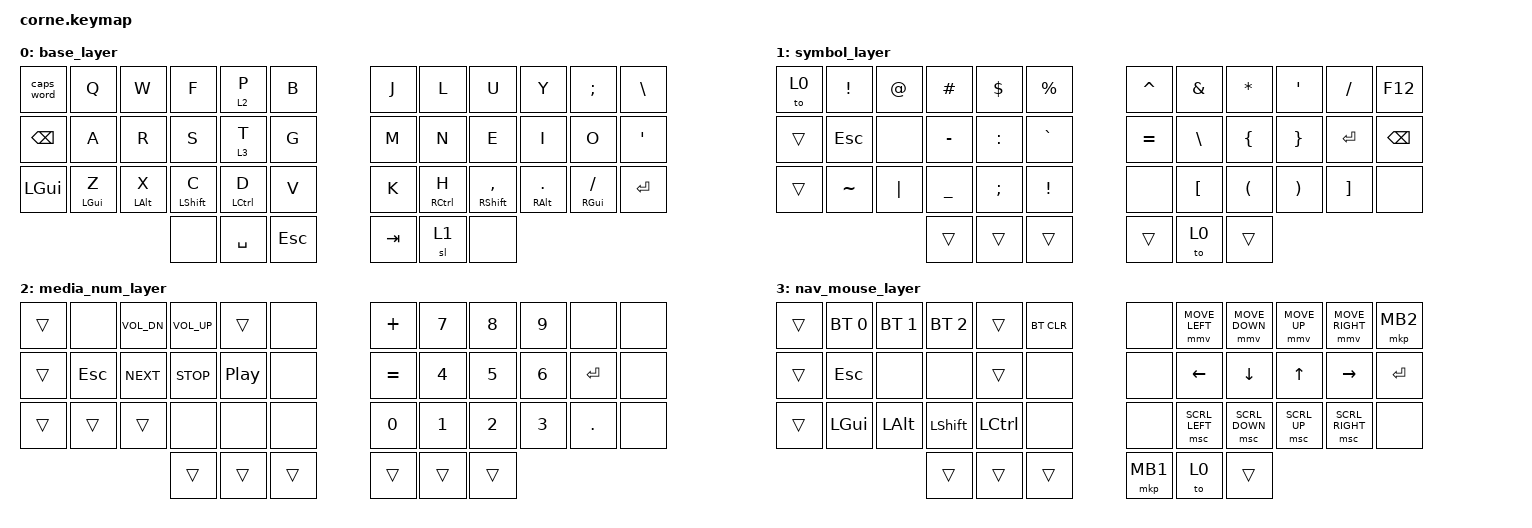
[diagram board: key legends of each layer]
#define ZMK_POINTING_DEFAULT_MOVE_VAL 1500
#define ZMK_POINTING_DEFAULT_SCRL_VAL 15


#include <behaviors.dtsi>
#include <dt-bindings/zmk/keys.h>
#include <dt-bindings/zmk/bt.h>
#include <dt-bindings/zmk/pointing.h>

&mmv {
    trigger-period-ms = <8>;
    time-to-max-speed-ms = <350>;
    acceleration-exponent = <1>;
};

&msc {
    trigger-period-ms = <30>;
    time-to-max-speed-ms = <100>;
    acceleration-exponent = <0>;
};

// Corne 42-key positions:
//  0-11 top row (L 0-5, R 6-11)    12-23 home row (L 12-17, R 18-23)
// 24-35 bottom row (L 24-29, R 30-35)   36-41 thumbs (L 36-38, R 39-41)

/ {
    behaviors {
        // Left-hand mod-tap: only holds if a right-hand key is pressed
        hml: homerow_mod_left {
            compatible = "zmk,behavior-hold-tap";
            #binding-cells = <2>;
            flavor = "balanced";
            tapping-term-ms = <170>;
            require-prior-idle-ms = <80>;
            hold-trigger-key-positions = <6 7 8 9 10 11 18 19 20 21 22 23 30 31 32 33 34 35 39 40 41>;
            hold-trigger-on-release;
            retro-tap;
            bindings = <&kp>, <&kp>;
        };

        // Right-hand mod-tap: only holds if a left-hand key (or Space) is pressed
        hmr: homerow_mod_right {
            compatible = "zmk,behavior-hold-tap";
            #binding-cells = <2>;
            flavor = "balanced";
            tapping-term-ms = <170>;
            require-prior-idle-ms = <80>;
            hold-trigger-key-positions = <0 1 2 3 4 5 12 13 14 15 16 17 24 25 26 27 28 29 36 37 38>;
            hold-trigger-on-release;
            retro-tap;
            bindings = <&kp>, <&kp>;
        };

        // Layer-tap for P (layer 2) and T (layer 3)
        lth: layer_tap_hold {
            compatible = "zmk,behavior-hold-tap";
            #binding-cells = <2>;
            flavor = "balanced";
            tapping-term-ms = <200>;
            bindings = <&mo>, <&kp>;
        };
    };

    keymap {
        compatible = "zmk,keymap";

        base_layer {
            bindings = <
&caps_word  &kp Q          &kp W          &kp F          &lth 2 P       &kp B            &kp J  &kp L          &kp U            &kp Y           &kp SEMI         &kp BSLH
&kp BSPC    &kp A          &kp R          &kp S          &lth 3 T       &kp G            &kp M  &kp N          &kp E            &kp I           &kp O            &kp SQT
&kp LGUI    &hml LGUI Z    &hml LALT X    &hml LSHFT C   &hml LCTRL D   &kp V            &kp K  &hmr RCTRL H    &hmr RSHFT COMMA &hmr RALT DOT   &hmr RGUI FSLH   &kp RET
                                          &none          &kp SPACE      &kp ESC          &kp TAB  &sl 1        &none
            >;
        };

        symbol_layer {
            bindings = <
&to 0       &kp EXCL       &kp AT         &kp HASH       &kp DLLR       &kp PRCNT        &kp CARET  &kp AMPS    &kp STAR         &kp SQT         &kp FSLH         &kp F12
&trans      &kp ESC        &none          &kp MINUS      &kp COLON      &kp GRAVE        &kp EQUAL  &kp BSLH    &kp LBRC         &kp RBRC        &kp RET          &kp BSPC
&trans      &kp TILDE      &kp PIPE       &kp UNDER      &kp SEMI       &kp EXCL         &none      &kp LBKT    &kp LPAR         &kp RPAR        &kp RBKT         &none
                                          &trans         &trans         &trans           &trans     &to 0       &trans
            >;
        };

        media_num_layer {
            bindings = <
&trans      &none          &kp C_VOL_DN   &kp C_VOL_UP   &trans         &none            &kp PLUS   &kp N7      &kp N8           &kp N9          &none            &none
&trans      &kp ESC        &kp C_NEXT     &kp C_STOP     &kp C_PP       &none            &kp EQUAL  &kp N4      &kp N5           &kp N6          &kp RET          &none
&trans      &trans         &trans         &none          &none          &none            &kp N0     &kp N1      &kp N2           &kp N3          &kp DOT          &none
                                          &trans         &trans         &trans           &trans     &trans      &trans
            >;
        };

        nav_mouse_layer {
            bindings = <
&trans      &bt BT_SEL 0   &bt BT_SEL 1   &bt BT_SEL 2   &trans         &bt BT_CLR       &none      &mmv MOVE_LEFT  &mmv MOVE_DOWN  &mmv MOVE_UP   &mmv MOVE_RIGHT  &mkp MB2
&trans      &kp ESC        &none          &none          &trans         &none            &none      &kp LEFT        &kp DOWN        &kp UP         &kp RIGHT        &kp RET
&trans      &kp LGUI       &kp LALT       &kp LSHFT      &kp LCTRL      &none            &none      &msc SCRL_LEFT  &msc SCRL_DOWN  &msc SCRL_UP   &msc SCRL_RIGHT  &none
                                          &trans         &trans         &trans           &mkp MB1   &to 0       &trans
            >;
        };
    };
};
